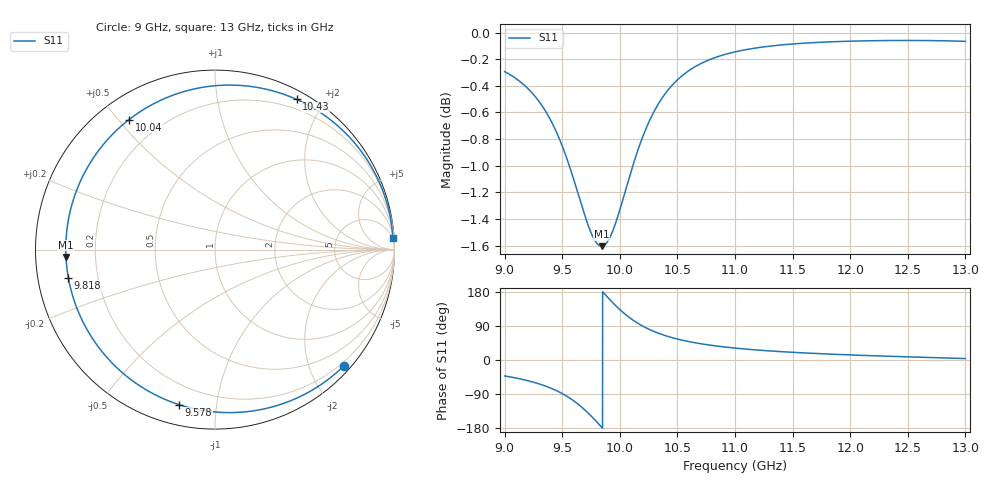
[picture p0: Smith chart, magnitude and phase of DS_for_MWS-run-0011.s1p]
! TOUCHSTONE file generated by CST DESIGN STUDIO
! Date and time: Wed Feb  5 13:34:34 2025
! Project name: C:\Work\MatlabApps\UnitCellOptimizationMatlab\CST\unitcell.cst
! Tree item: Tasks\Sweep1\SPara1\S-Parameters
! Header version: 2024
! Port assignment regex: !\s*Touchstone port\s*([0-9]+)\s*=\s*(CST MWS port|CST DES external port|CST DES block port)\s*(.+)\s* \(\"(.*)\"\)(\s*mode\s*([0-9]+))?.*
! Touchstone port assignment:
! Touchstone port 1 = CST DES external port 1 ("")
# GHz S MA R 50
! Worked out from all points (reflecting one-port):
!   4001 points, 9 GHz to 13 GHz, reference 50 ohm
!   lowest |S11| = -1.6 dB at 9.842 GHz (marker M1), VSWR 10.86, Z = 4.61 - j1.23 ohm
!   phase of S11 starts at -42 deg and turns -314 deg over the sweep
!   S11 on the Smith chart (normalised r, x): 9 GHz: 0.13, -2.59; 9.578 GHz: 0.10, -0.79; 9.818 GHz: 0.09, -0.09; 10.04 GHz: 0.09, +0.53; 10.43 GHz: 0.09, +1.68; 13 GHz: 3, +30
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9  0.9669 -42.1
9.147  0.9575 -50.7
9.279  0.9447 -61.1
9.393  0.9282 -73.2
9.5  0.9066 -88.6
9.578  0.8868 -103.1
9.639  0.8696 -116.8
9.696  0.8538 -131.6
9.762  0.8389 -151.2
9.818  0.832 -169.2
9.842  0.8313 -177.2
9.878  0.8329 170.9
9.915  0.8378 158.8
9.959  0.847 145.1
10  0.8579 133.2
10.036  0.8684 123.5
10.108  0.8899 106.6
10.189  0.9115 91.1
10.303  0.935 74.5
10.425  0.9523 61.5
10.5  0.96 55.3
10.601  0.9678 48.5
10.716  0.9742 42.3
11  0.9835 31.4
11.5  0.9903 20.3
12  0.9927 13.4
12.5  0.9933 8.3
13  0.9925 3.8
